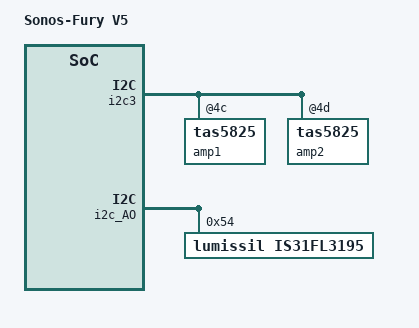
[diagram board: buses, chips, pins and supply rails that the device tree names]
/*
 * Copyright (c) 2020-2022, Sonos, Inc.
 *
 * SPDX-License-Identifier:     GPL-2.0
 */
/* Fury HW versions
 *      V0 - fury_v0.dts - Fury P0,P1 builds
 *      V1 - fury_v1.dts - Fury P2a,P2b,EVT,DVT builds
 *      V2 - fury_v2.dts - Fury DVT2 (ReQual) build -AMP Infineon MA12070 replaces TI 5825
 *      V3 - fury_v3.dts - Fury, in MP, Infineon AMP, replacing lp5562 with lumissil 3195
 *      V4 - fury_v4.dts - Fury, in MP, TI amp, lp5562 LED controller
 *      V5 - fury_v5.dts - Fury, in MP, TI amp, lumissil 3195 LED controller
 */
/dts-v1/;

#include "fury_common.dtsi"

/ {
	model = "Sonos-Fury V5";

}; /* end of / */


&i2c1 {
	cputempsensor: tmp102@48 {
		status = "disable";
	};
};

&i2c3 {
	amp1: tas5825@4c {
		status = "okay";
	};

	amp2: tas5825@4d {
		status = "okay";
	};
	ma12070p@20 {
		status = "disable";
	};

	ma12070p@21 {
		status = "disable";
	};

};

&i2c_AO {
        /delete-node/lp5562@30;

        is31fl3195@54 {  // LED controller
                compatible = "lumissil,is31fl3195";
                reg = <0x54>;
        };
};
